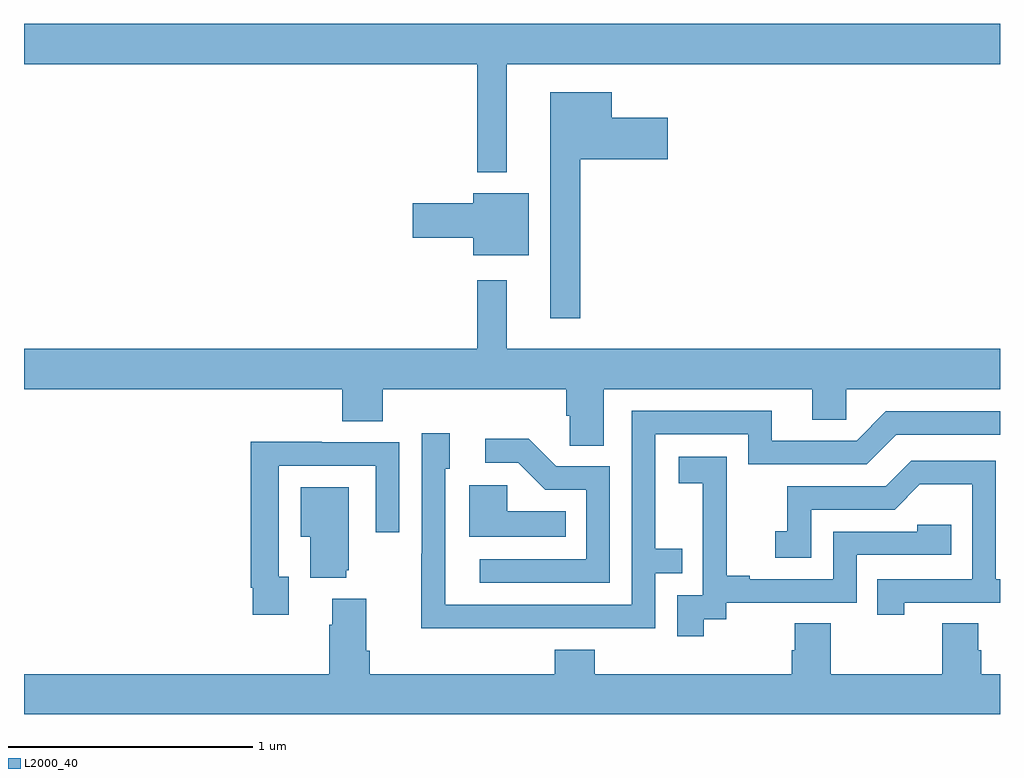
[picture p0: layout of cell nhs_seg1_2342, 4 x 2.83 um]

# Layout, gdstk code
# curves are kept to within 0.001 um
import gdstk
lib = gdstk.Library(unit=1e-6, precision=1e-09)
def P(c, l, *ps):  # polygons
    for p in ps: c.add(gdstk.Polygon(p, *l))
L2000_40 = (2000, 40)

nhs_seg1_2342 = lib.new_cell('nhs_seg1_2342')
P(nhs_seg1_2342, L2000_40, [(240.979,519.764),(243,519.764),(243,519.928),(239,519.928),(239,519.764),(240.858,519.764),(240.858,519.32),(240.979,519.32)],
  [(241.279,519.374),(241.639,519.374),(241.639,519.544),(241.408,519.544),(241.408,519.649),(241.157,519.649),(241.157,518.721),(241.279,518.721)],
  [(241.069,519.235),(240.842,519.235),(240.842,519.194),(240.594,519.194),(240.594,519.052),(240.842,519.052),(240.842,518.981),(241.069,518.981)],
  [(241.375,518.432),(242.231,518.432),(242.231,518.305),(242.37,518.305),(242.37,518.432),(243,518.432),(243,518.596),(240.979,518.596),(240.979,518.878),(240.858,518.878),(240.858,518.596),(239,518.596),(239,518.432),(240.305,518.432),(240.305,518.299),(240.47,518.299),(240.47,518.432),(241.223,518.432),(241.223,518.323),(241.236,518.323),(241.236,518.2),(241.375,518.2)],
  [(241.091,517.452),(241.587,517.452),(241.587,517.677),(241.697,517.677),(241.697,517.778),(241.587,517.778),(241.587,518.247),(241.968,518.247),(241.968,518.124),(242.454,518.124),(242.574,518.244),(243,518.244),(243,518.34),(242.532,518.34),(242.412,518.22),(242.065,518.22),(242.065,518.343),(241.491,518.343),(241.491,517.548),(240.727,517.548),(240.726,518.106),(240.745,518.106),(240.745,518.251),(240.63,518.251),(240.63,517.757),(240.628,517.757),(240.628,517.451)],
  [(241.401,518.115),(241.182,518.115),(241.069,518.228),(240.891,518.228),(240.891,518.13),(241.025,518.13),(241.136,518.019),(241.305,518.019),(241.305,517.734),(240.867,517.734),(240.867,517.638),(241.401,517.638)],
  [(240.085,517.662),(240.045,517.662),(240.045,518.118),(240.441,518.118),(240.441,517.845),(240.537,517.845),(240.537,518.214),(240.221,518.214),(240.221,518.216),(239.929,518.216),(239.929,517.618),(239.937,517.618),(239.937,517.506),(240.085,517.506)],
  [(241.786,517.489),(241.878,517.489),(241.878,517.557),(242.412,517.557),(242.412,517.752),(242.801,517.752),(242.801,517.875),(242.661,517.875),(242.661,517.848),(242.316,517.848),(242.316,517.653),(241.975,517.653),(241.975,517.666),(241.88,517.666),(241.88,517.949),(241.881,517.949),(241.881,518.155),(241.683,518.155),(241.683,518.045),(241.781,518.045),(241.781,517.817),(241.782,517.817),(241.782,517.587),(241.677,517.587),(241.677,517.419),(241.786,517.419)],
  [(242.608,517.557),(243,517.557),(243,517.653),(242.982,517.653),(242.982,518.139),(242.636,518.139),(242.531,518.034),(242.128,518.034),(242.128,517.849),(242.079,517.849),(242.079,517.74),(242.226,517.74),(242.226,517.938),(242.568,517.938),(242.672,518.042),(242.886,518.042),(242.886,517.653),(242.497,517.653),(242.497,517.506),(242.608,517.506)],
  [(241.22,517.93),(240.981,517.93),(240.981,518.038),(240.824,518.038),(240.824,517.826),(241.22,517.826)],
  [(240.32,517.689),(240.331,517.689),(240.331,518.029),(240.134,518.029),(240.134,517.826),(240.173,517.826),(240.173,517.658),(240.32,517.658)],
  [(240.263,517.573),(240.263,517.466),(240.251,517.466),(240.251,517.264),(239,517.264),(239,517.1),(243,517.1),(243,517.264),(242.924,517.264),(242.924,517.362),(242.911,517.362),(242.911,517.472),(242.764,517.472),(242.764,517.264),(242.307,517.264),(242.307,517.472),(242.159,517.472),(242.159,517.362),(242.147,517.362),(242.147,517.264),(241.34,517.264),(241.34,517.363),(241.175,517.363),(241.175,517.264),(240.416,517.264),(240.416,517.36),(240.403,517.36),(240.403,517.573)])

lib.write_gds('nhs_seg1_2342.gds')
